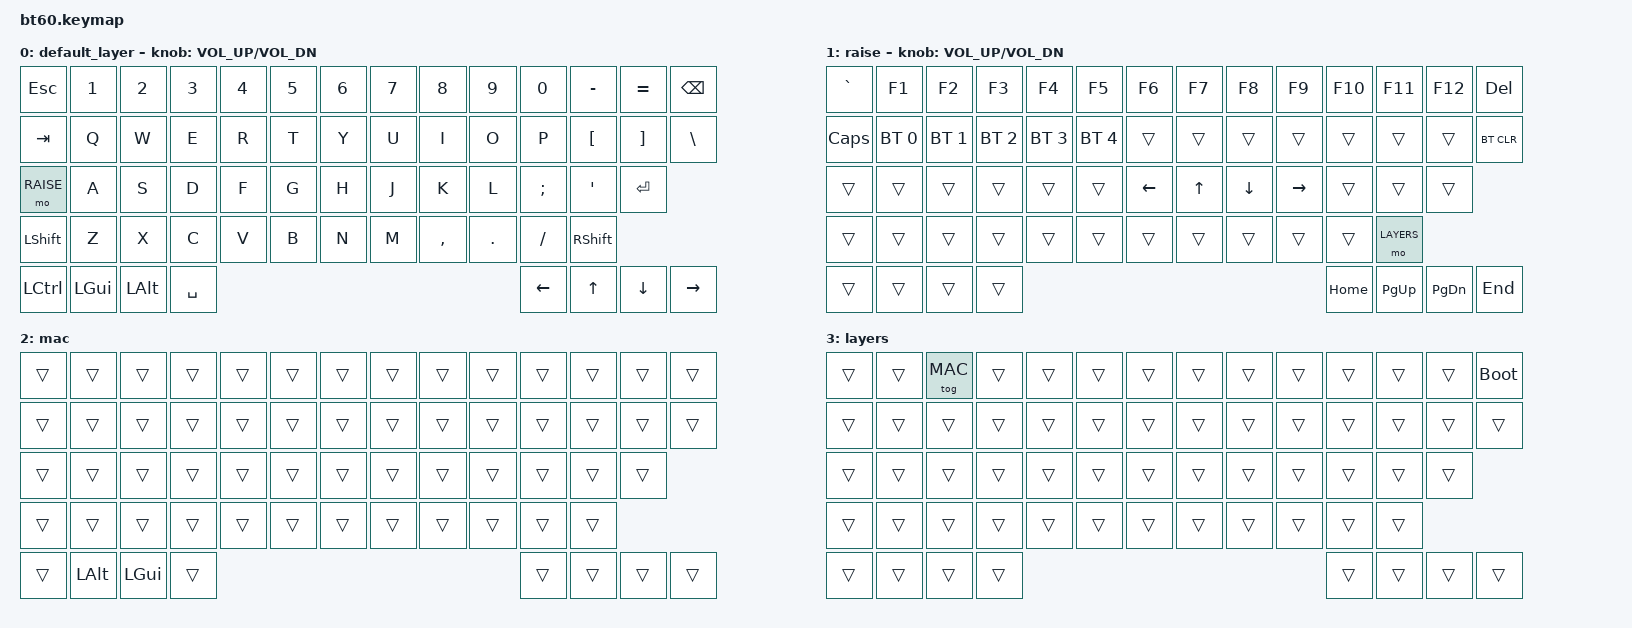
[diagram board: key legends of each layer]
#include <behaviors.dtsi>
#include <dt-bindings/zmk/keys.h>
#include <dt-bindings/zmk/bt.h>

#define DEFAULT 0
#define RAISE  	1
#define MAC	2
#define LAYERS  3

/ {
	keymap {
		compatible = "zmk,keymap";

		default_layer {
				// ------------------------------------------------------------------------------------------
				// | ESC |  1  |  2  |  3  |  4  |  5  |  6  |  7  |  8  |  9  |  0  |  -  |  =  |   BKSP   |
				// | TAB  |  Q  |  W  |  E  |  R  |  T  |  Y  |  U  |  I  |  O  |  P  |  [  |  ]   |   |    |
				// | MO 1  |  A  |  S  |  D  |  F  |  G  |  H  |  J  |  K  |  L  |  ;  |  '  |     ENTER    |
				// |  SHIFT    |  Z  |  X  |  C  |  V  |  B  |  N  |  M  |  ,  |  .  | /   |      SHIFT     |
				// |  CTL  |  WIN  |  ALT  |            SPACE              | LEFT |   UP   |  DOWN  | RIGHT |
				// ------------------------------------------------------------------------------------------
			bindings = <
				&kp ESC &kp N1 &kp N2 &kp N3 &kp N4 &kp N5 &kp N6 &kp N7 &kp  N8   &kp  N9 &kp  N0  &kp MINUS &kp EQUAL &kp BSPC
				&kp TAB  &kp Q  &kp W  &kp E  &kp R  &kp T  &kp Y  &kp U  &kp  I    &kp  O  &kp  P   &kp LBKT &kp RBKT  &kp BSLH
				&mo RAISE  &kp A  &kp S  &kp D  &kp F  &kp G  &kp H  &kp J  &kp  K    &kp  L  &kp SEMI &kp SQT           &kp RET
				&kp LSHFT  &kp Z  &kp X  &kp C  &kp V  &kp B  &kp N  &kp M  &kp COMMA &kp DOT &kp FSLH             &kp RSHFT
				&kp LCTRL &kp LGUI &kp LALT               &kp SPACE                          &kp LEFT  &kp UP &kp DOWN &kp RIGHT
			>;
			sensor-bindings = <&inc_dec_kp C_VOL_UP C_VOL_DN>;
		};
		raise {
				// ------------------------------------------------------------------------------------------
				// | `  | F1 | F2 |  F3  |  F4  |  F5  |  F6  |  F7  |  F8  |  F9  | F10 | F11 | F12 | DEL  |
				// |  CAPS | BT0 | BT1 | BT2 | BT3 | BT4 |     |     |     |     |     |     |     | BT CLR |
				// |        |     |     |    |    |    | LEFT | UP | DOWN | RIGHT |     |     |             |
				// |           |     |     |     |     |     |     |     |     |     |     |      MO3       |
				// |       |       |       |                               | HOME | PG UP | PG DOWN |  END  |
				// ------------------------------------------------------------------------------------------
			bindings = <
				&kp GRAVE &kp F1 &kp F2 &kp F3 &kp F4 &kp F5 &kp F6 &kp F7 &kp  F8   &kp  F9 &kp  F10  &kp F11 &kp F12 &kp DEL
				&kp CLCK &bt BT_SEL 0 &bt BT_SEL 1 &bt BT_SEL 2 &bt BT_SEL 3 &bt BT_SEL 4 &trans &trans &trans &trans &trans &trans &trans &bt BT_CLR
				&trans &trans &trans &trans &trans &trans &kp LEFT &kp UP &kp DOWN &kp RIGHT &trans &trans &trans 
				&trans &trans &trans &trans &trans &trans &trans &trans &trans &trans &trans  &mo LAYERS
				&trans &trans &trans              &trans                            &kp HOME &kp PG_UP &kp PG_DN &kp END
			>;
			sensor-bindings = <&inc_dec_kp C_VOL_UP C_VOL_DN>;
		};
		mac {
				// ------------------------------------------------------------------------------------------
				// |     |     |     |     |     |     |     |     |     |     |     |     |     |          |
				// |       |     |     |     |     |     |     |     |     |     |     |     |     |        |
				// |        |     |     |     |     |     |     |     |     |     |     |     |             |
				// |           |     |     |     |     |     |     |     |     |     |     |                |
				// |       |  WIN  |  ALT  |                               |      |        |        |       |
				// ------------------------------------------------------------------------------------------
			bindings = <
				&trans &trans &trans &trans &trans &trans &trans &trans &trans &trans &trans &trans &trans &trans
				&trans &trans &trans &trans &trans &trans &trans &trans &trans &trans &trans &trans &trans &trans
				&trans &trans &trans &trans &trans &trans &trans &trans &trans &trans &trans &trans &trans
				&trans &trans &trans &trans &trans &trans &trans &trans &trans &trans &trans &trans
				&trans &kp LALT &kp LGUI              &trans                          &trans &trans &trans &trans
			>;
		};
		layers {
				// ------------------------------------------------------------------------------------------
				// |   |      | TOG 2 |      |   |     |      |      |      |      |   |   |   | BOOTLOADER |
				// |       |     |     |     |     |     |     |     |     |     |     |     |     |        |
				// |        |     |     |     |     |     |     |     |     |     |     |     |             |
				// |           |     |     |     |     |     |     |     |     |     |     |                |
				// |       |       |       |                               |      |        |        |       |
				// ------------------------------------------------------------------------------------------
			bindings = <
				&trans &trans &tog MAC &trans &trans &trans &trans &trans &trans &trans &trans &trans &trans &bootloader
				&trans &trans &trans &trans &trans &trans &trans &trans &trans &trans &trans &trans &trans &trans
				&trans &trans &trans &trans &trans &trans &trans &trans &trans &trans &trans &trans &trans
				&trans &trans &trans &trans &trans &trans &trans &trans &trans &trans &trans &trans
				&trans &trans &trans               &trans                             &trans &trans &trans &trans
			>;
		};
	};
};
